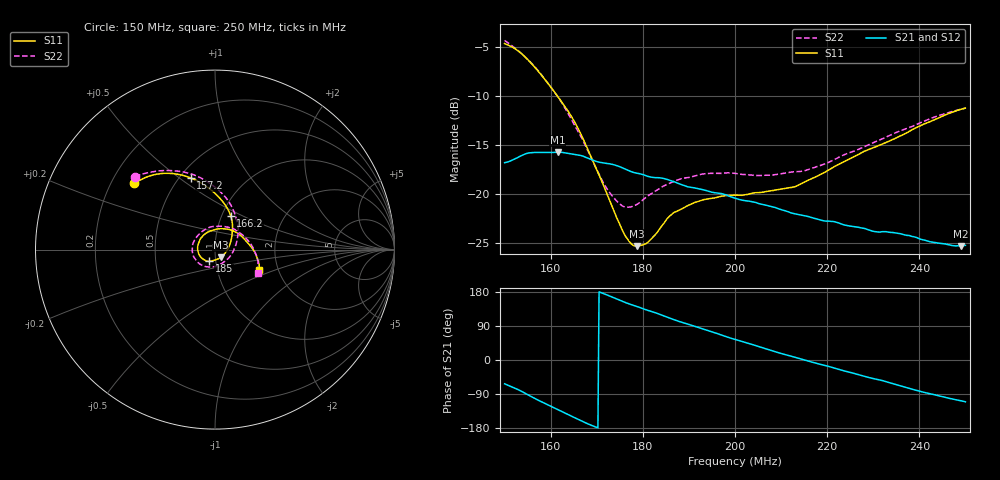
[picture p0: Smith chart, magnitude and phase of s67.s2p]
# Hz S MA R 50
! Planar, Obzor-304, 08125003, 3.51/02
! Äàòà: 26.03.2019 11:25:41
! ×àñòîòà  S11: Mag/Ang (F2)  S21: Mag/Ang (F2)  S12: Mag/Ang (F2)  S22: Mag/Ang (F2)
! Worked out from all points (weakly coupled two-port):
!   401 points, 150 MHz to 250 MHz, reference 50 ohm
!   highest |S21| = -15.78 dB at 161.5 MHz (marker M1); lowest = -25.4 dB at 249 MHz (marker M2)
!   lowest |S11| = -25.4 dB at 178.8 MHz (marker M3), VSWR 1.11, Z = 53.1 - j4.64 ohm
!   |S11| at or under -10 dB: 161.4 MHz to end of sweep
!   |S22| runs from -21.4 to -4.4 dB; largest |S21 - S12| = 0.00094
!   S11 on the Smith chart (normalised r, x): 150 MHz: 0.30, +0.33; 157.2 MHz: 0.57, +0.55; 166.2 MHz: 1.10, +0.43; 185 MHz: 0.93, -0.12; 250 MHz: 1.59, -0.40
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1.5e8  0.5823 140.7  0.1437 -62.8  0.1439 -62.5  0.604 137.6
1.5375e8  0.5155 124.6  0.1565 -83.2  0.1568 -83.2  0.5154 121.2
1.5725e8  0.4219 108.8  0.162 -105.8  0.1622 -105.7  0.4243 104.2
1.615e8  0.3139 90.1  0.1625 -130.6  0.1626 -130.4  0.3128 82.3
1.6625e8  0.208 65.1  0.1569 -158.3  0.1572 -158.1  0.2015 52.7
1.6675e8  0.1966 62.2  0.1559 -161.2  0.1562 -161.1  0.1917 49.0
1.7125e8  0.1132 35.2  0.1435 176.3  0.1437 176.3  0.1157 10.1
1.735e8  0.08396 15.9  0.1407 165.1  0.1409 165.2  0.09625 -15.0
1.765e8  0.05932 -20.2  0.1323 150.3  0.1324 150.3  0.08521 -52.7
1.7875e8  0.05389 -54.1  0.127 141.0  0.1272 141.1  0.08811 -76.2
1.81e8  0.05619 -83.8  0.1225 131.3  0.1227 131.4  0.09684 -96.5
1.835e8  0.0653 -105.2  0.1204 121.3  0.1205 121.4  0.1057 -114.7
1.85e8  0.07298 -116.3  0.1185 114.3  0.1186 114.4  0.1107 -124.1
1.9125e8  0.08997 -153.1  0.1068 88.9  0.1069 89.0  0.1229 -156.2
2e8  0.09822 164.3  0.09473 54.3  0.09493 54.4  0.1268 161.3
2.1e8  0.1053 112.1  0.08277 17.3  0.08291 17.4  0.1262 110.8
2.1675e8  0.1193 76.9  0.07532 -5.7  0.07551 -5.6  0.1347 75.7
2.24e8  0.1467 44.1  0.06891 -29.6  0.06905 -29.6  0.1589 43.6
2.335e8  0.1853 12.2  0.06344 -59.8  0.06343 -59.8  0.1977 11.3
2.42e8  0.231 -7.7  0.05697 -88.2  0.05699 -88.1  0.2393 -10.8
2.49e8  0.2691 -23.0  0.05398 -107.6  0.05398 -107.5  0.2691 -27.1
2.5e8  0.2729 -25.2  0.05442 -110.3  0.05444 -110.2  0.273 -29.0
